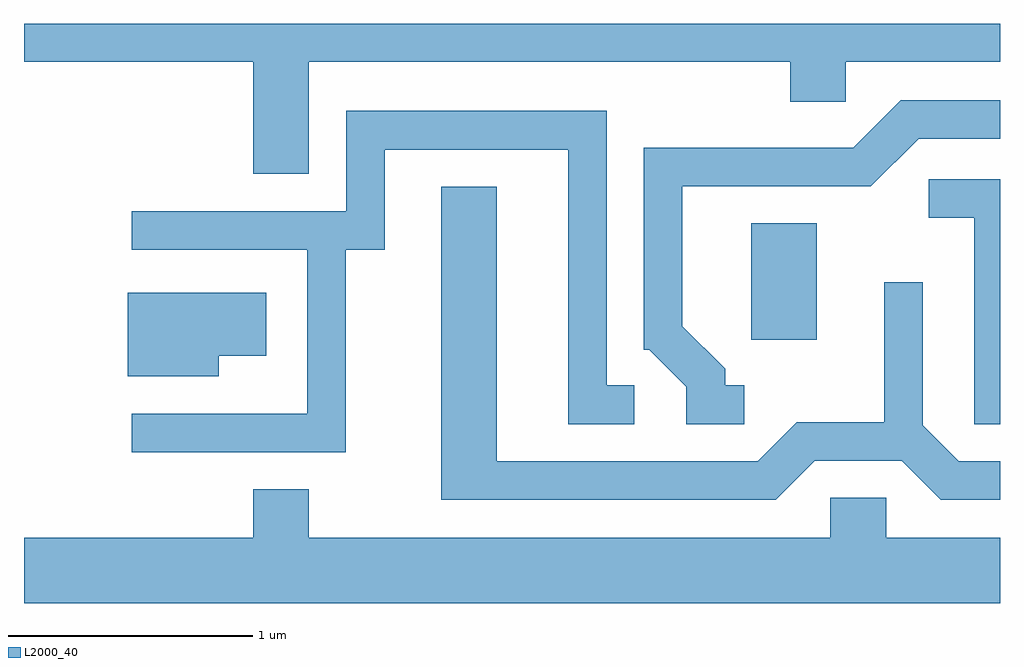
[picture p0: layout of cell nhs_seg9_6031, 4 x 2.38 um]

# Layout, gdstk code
import gdstk
lib = gdstk.Library(unit=1e-6, precision=1e-09)
def R(c, l, rs):  # rectangles x0, y0, x1, y1
    for r in rs: c.add(gdstk.rectangle(r[:2], r[2:], *l))
def P(c, l, *ps):  # polygons
    for p in ps: c.add(gdstk.Polygon(p, *l))
L2000_40 = (2000, 40)

nhs_seg9_6031 = lib.new_cell('nhs_seg9_6031')
R(nhs_seg9_6031, L2000_40, [(366.591,1975.136,366.859,1975.614)])
P(nhs_seg9_6031, L2000_40, [(364.779,1976.276),(366.751,1976.276),(366.751,1976.111),(366.979,1976.111),(366.979,1976.276),(367.611,1976.276),(367.611,1976.432),(363.611,1976.432),(363.611,1976.276),(364.551,1976.276),(364.551,1975.816),(364.779,1975.816)],
  [(366.563,1974.949),(366.484,1974.949),(366.484,1975.017),(366.309,1975.192),(366.309,1975.766),(367.082,1975.766),(367.277,1975.961),(367.611,1975.961),(367.611,1976.119),(367.204,1976.119),(367.009,1975.924),(366.151,1975.924),(366.151,1975.096),(366.174,1975.096),(366.326,1974.944),(366.326,1974.791),(366.563,1974.791)],
  [(364.929,1975.506),(365.089,1975.506),(365.089,1975.916),(365.841,1975.916),(365.841,1974.791),(366.113,1974.791),(366.113,1974.949),(365.999,1974.949),(365.999,1976.074),(364.931,1976.074),(364.931,1975.664),(364.053,1975.664),(364.053,1975.506),(364.771,1975.506),(364.771,1974.834),(364.053,1974.834),(364.053,1974.676),(364.929,1974.676)],
  [(367.611,1975.794),(367.318,1975.794),(367.318,1975.636),(367.506,1975.636),(367.506,1974.791),(367.611,1974.791)],
  [(366.852,1974.641),(367.209,1974.641),(367.369,1974.481),(367.611,1974.481),(367.611,1974.639),(367.442,1974.639),(367.294,1974.787),(367.294,1975.373),(367.136,1975.373),(367.136,1974.799),(366.779,1974.799),(366.619,1974.639),(365.549,1974.639),(365.549,1975.764),(365.321,1975.764),(365.321,1974.481),(366.692,1974.481)],
  [(364.409,1975.071),(364.604,1975.071),(364.604,1975.329),(364.036,1975.329),(364.036,1974.986),(364.409,1974.986)],
  [(367.611,1974.324),(367.144,1974.324),(367.144,1974.489),(366.916,1974.489),(366.916,1974.324),(364.779,1974.324),(364.779,1974.524),(364.551,1974.524),(364.551,1974.324),(363.611,1974.324),(363.611,1974.056),(367.611,1974.056)])

lib.write_gds('nhs_seg9_6031.gds')
